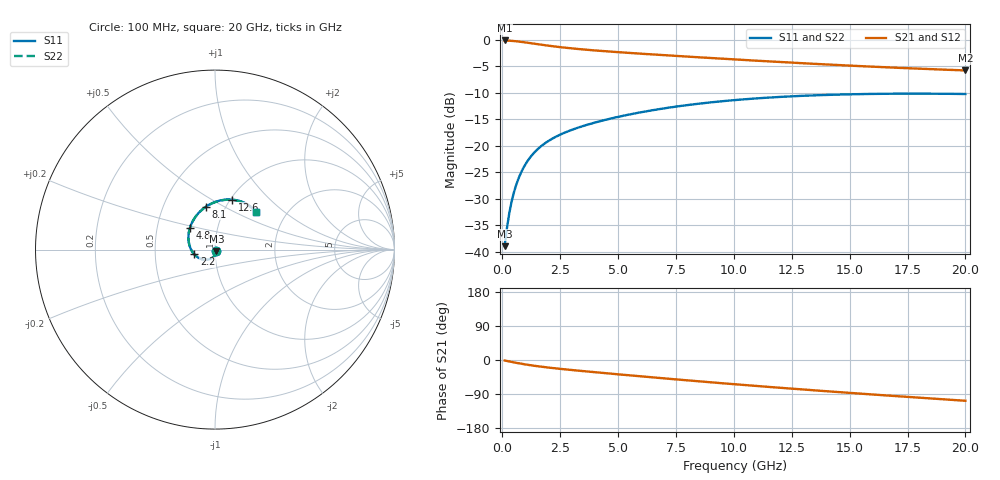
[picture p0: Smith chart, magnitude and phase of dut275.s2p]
! Touchstone file exported from HFSS 2024.1.0
!  File:  C:/UserFiles/LocalFiles/RDL_TSV_Batchsim/temp_RDL_TSV_275_1779462705.aedt
!  Generated:  11:26:35 PM May 22, 2026
!  Design:  RDL_TSV
!  Project:  temp_RDL_TSV_275_1779462705
!  Setup:  Setup1
!  Solution:  Sweep
! Variables:
!  dtsv = 14.87um
!  hbump = 3um
!  htsv = 74.8um
!  ldown = 202.48um
!  lrdl = 134.55um
!  p = 40
!  p1 = 55.86um
!  rhole = 10um
!  subl = 1145.64um
!  t = 450um
!  tdown = 2.04um
!  trdl = 2.29um
!  viad = 10um
!  wdown = 21.99um
!  wrdl = 26.8um
!  xbump = 18um
# GHz S MA R 50.000000
! Terminal data exported
! Port[1] = TM1_1_T1
! Port[2] = TM1_4_T1
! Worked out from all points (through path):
!   200 points, 100 MHz to 20 GHz, reference 50 ohm
!   highest |S21| = -0.08 dB at 100 MHz (marker M1); lowest = -5.7 dB at 20 GHz (marker M2)
!   group delay of S21, straight-line fit = 13.9 ps
!   lowest |S11| = -39.0 dB at 100 MHz (marker M3), VSWR 1.02, Z = 50.8 - j0.778 ohm
!   |S11| at or under -10 dB: start of sweep to end of sweep
!   |S22| runs from -39.0 to -10.2 dB; largest |S21 - S12| = 3.3e-14
!   S11 on the Smith chart (normalised r, x): 100 MHz: 1.02, -0.02; 2.2 GHz: 0.79, -0.04; 4.8 GHz: 0.74, +0.18; 8.1 GHz: 0.81, +0.41; 12.6 GHz: 1.02, +0.62; 20 GHz: 1.41, +0.65
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0.1  0.01126 -42.8  0.9906 -1.3  0.9906 -1.3  0.01126 -42.8
! Gamma 0 0 0 0
! Port Impedance 50 0 50 0
0.2  0.01665 -66.2  0.9889 -2.6  0.9889 -2.6  0.01665 -66.2
0.3  0.02297 -79.7  0.9862 -3.8  0.9862 -3.8  0.02297 -79.7
0.4  0.02957 -89.2  0.9826 -5.1  0.9826 -5.1  0.02957 -89.2
0.5  0.0362 -96.8  0.9783 -6.3  0.9783 -6.3  0.0362 -96.8
0.6  0.04273 -103.3  0.9734 -7.4  0.9734 -7.4  0.04273 -103.3
0.8  0.05527 -114.5  0.962 -9.7  0.962 -9.7  0.05527 -114.5
0.9  0.0612 -119.5  0.9557 -10.7  0.9557 -10.7  0.0612 -119.5
1.1  0.07234 -128.6  0.9425 -12.7  0.9425 -12.7  0.07233 -128.6
1.4  0.08722 -140.8  0.922 -15.4  0.922 -15.4  0.08721 -140.8
1.8  0.1041 -154.9  0.8958 -18.6  0.8958 -18.6  0.104 -154.8
2.2  0.1182 -167.0  0.8722 -21.4  0.8722 -21.4  0.1182 -167.0
2.8  0.1362 177.4  0.8424 -25.2  0.8424 -25.2  0.1361 177.5
3.5  0.1542 162.2  0.8142 -29.4  0.8142 -29.4  0.154 162.3
4.8  0.1836 139.9  0.7734 -36.7  0.7734 -36.7  0.1832 140.0
6.8  0.2227 114.7  0.7236 -47.5  0.7236 -47.5  0.2221 114.7
8.1  0.2444 102.0  0.6949 -54.3  0.6949 -54.3  0.2437 102.0
10.1  0.2714 86.2  0.6543 -64.3  0.6543 -64.3  0.2705 86.3
12.6  0.2945 71.0  0.6096 -76.1  0.6096 -76.1  0.2934 71.0
13.4  0.2996 66.9  0.5967 -79.7  0.5967 -79.7  0.2985 66.9
16.7  0.3107 52.9  0.5508 -94.0  0.5508 -94.0  0.3094 52.9
20  0.3089 42.8  0.5161 -107.6  0.5161 -107.6  0.3075 42.7
